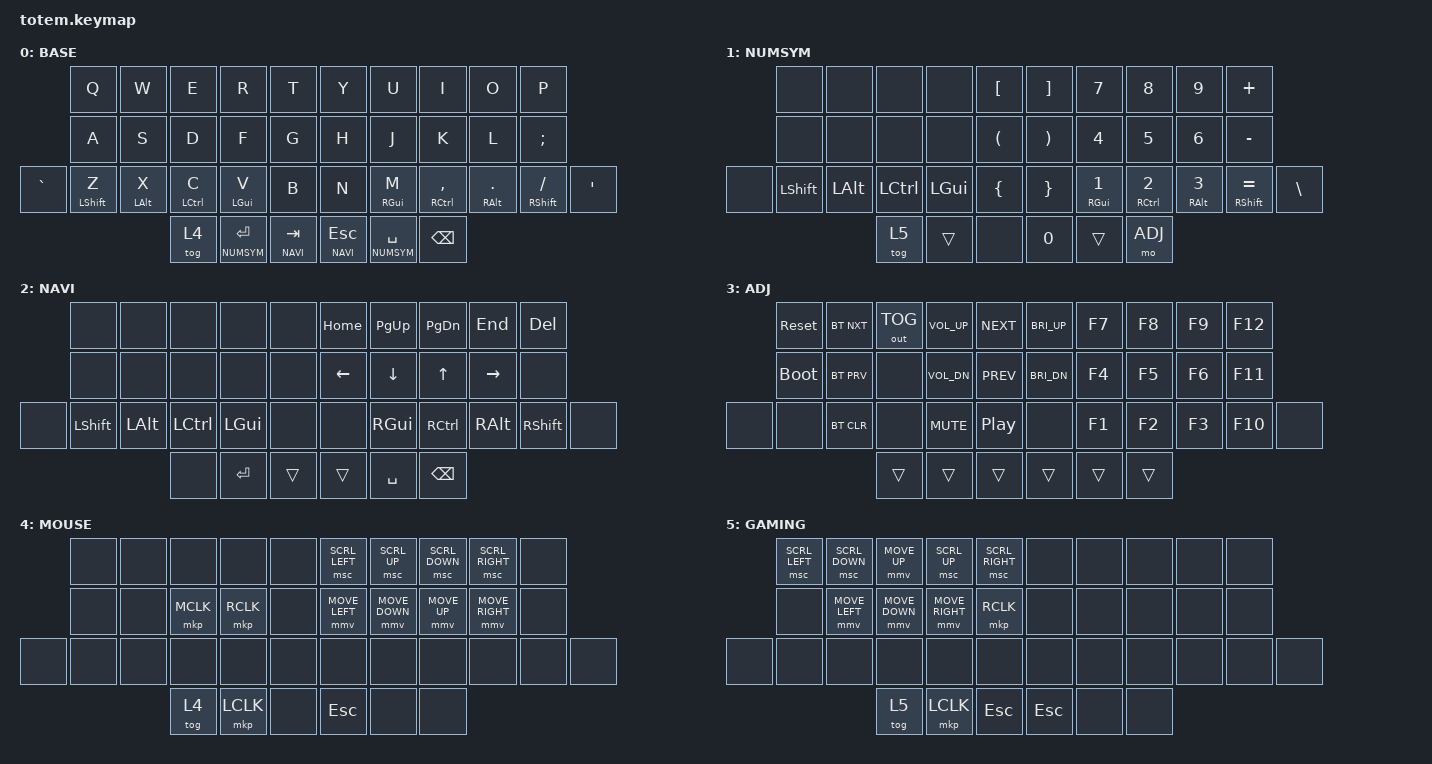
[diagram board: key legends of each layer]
//
//                                                        ▀▀▀▀▀     ▀▀▀▀▀          ▀▀█▀▀
//                                                        ▄▀▀▀▄  ▄  ▄▀▀▀▄  ▄  ▄▀▀▀▄  █  ▄▀▀▀▄
//                                                        █   █  █  █   █  █  █   █  █  █   █
//                                                         ▀▀▀   █   ▀▀▀   █   ▀▀▀   ▀   ▀▀▀
//                                                               █      ▄▄▄█▄▄▄    █   █  
//                                                               ▀      █  █  █     █▄█
//                                                             ▀▀▀▀▀    █  █  █      ▀
//                                                                      ▀  ▀  ▀
//
// ▄▄▄▄▄▄▄▄▄▄▄▄▄▄▄▄▄▄▄▄▄▄▄▄▄▄▄▄▄▄▄▄▄▄▄▄▄▄▄▄▄▄▄▄▄▄▄▄▄▄▄▄▄▄▄▄▄▄▄▄▄▄▄▄▄▄▄▄▄▄▄▄▄▄▄▄▄▄▄▄▄▄▄▄▄▄▄▄▄▄▄▄▄▄▄▄▄▄▄▄▄▄▄▄▄▄▄▄▄▄▄▄▄▄▄▄▄▄▄▄▄▄▄▄▄▄▄▄▄▄▄▄▄▄▄▄▄▄▄▄▄▄▄▄▄▄▄▄▄


#include <behaviors.dtsi>
#include <dt-bindings/zmk/keys.h>
#include <dt-bindings/zmk/bt.h>
#include <dt-bindings/zmk/outputs.h>

// mouse mode
//
// https://v0-3-branch.zmk.dev/docs/keymaps/behaviors/mouse-emulation
#define ZMK_POINTING_DEFAULT_MOVE_VAL 1500  // default: 600
#define ZMK_POINTING_DEFAULT_SCRL_VAL 20    // default: 10

#include <dt-bindings/zmk/pointing.h>
// ----------------------------------------------------------------------

#define BASE    0
#define NUMSYM  1
#define NAVI    2
#define ADJ     3
#define MOUSE   4
#define GAMING  5

&mt {
    tapping-term-ms = <125>;
    quick-tap-ms = <150>;
    flavor = "tap-preferred";
};

/ {
     combos {
            compatible = "zmk,combos";
            combo_caps {
                timeout-ms = <50>;
                key-positions = <10 19>;
                bindings = <&kp CAPS>;
            };
    };

    macros {
        // place your macro here...
    };

        keymap {
                compatible = "zmk,keymap";
// ▄▄▄▄▄▄▄▄▄▄▄▄▄▄▄▄▄▄▄▄▄▄▄▄▄▄▄▄▄▄▄▄▄▄▄▄▄▄▄▄▄▄▄▄▄▄▄▄▄▄▄▄▄▄▄▄▄▄▄▄▄▄▄▄▄▄▄▄▄▄▄▄▄▄▄▄▄▄▄▄▄▄▄▄▄▄▄▄▄▄▄▄▄▄▄▄▄▄▄▄▄▄▄▄▄▄▄▄▄▄▄▄▄▄▄▄▄▄▄▄▄▄▄▄▄▄▄▄▄▄▄▄▄▄▄▄▄▄▄▄▄▄▄▄▄▄▄▄▄

                base_layer {
// ┏━━━━━━━━━━━━━━━━━━━━━━━━━━━━━━━━━━━━━━━┓
label= "BASE"                              ;
// ┗━━━━━━━━━━━━━━━━━━━━━━━━━━━━━━━━━━━━━━━┛
//             ┏━━━━━━━━━━━┳━━━━━━━━━━━┳━━━━━━━━━━━┳━━━━━━━━━━━┳━━━━━━━━━━━┓   ┏━━━━━━━━━━━┳━━━━━━━━━━━┳━━━━━━━━━━━┳━━━━━━━━━━━┳━━━━━━━━━━━┓
//             ┃     Q     ┃     W     ┃     E     ┃     R     ┃     T     ┃   ┃     Y     ┃     U     ┃     I     ┃     O     ┃     P     ┃
//             ┣━━━━━━━━━━━╋━━━━━━━━━━━╋━━━━━━━━━━━╋━━━━━━━━━━━╋━━━━━━━━━━━┫   ┣━━━━━━━━━━━╋━━━━━━━━━━━╋━━━━━━━━━━━╋━━━━━━━━━━━╋━━━━━━━━━━━┫
//             ┃     A     ┃     S     ┃     D     ┃     F     ┃     G     ┃   ┃     H     ┃     J     ┃     K     ┃     L     ┃     ;     ┃
// ┏━━━━━━━━━━━╋━━━━━━━━━━━╋━━━━━━━━━━━╋━━━━━━━━━━━╋━━━━━━━━━━━╋━━━━━━━━━━━┫   ┣━━━━━━━━━━━╋━━━━━━━━━━━╋━━━━━━━━━━━╋━━━━━━━━━━━╋━━━━━━━━━━━╋━━━━━━━━━━━┓
// ┃     `     ┃     Z     ┃     X     ┃     C     ┃     V     ┃     B     ┃   ┃     N     ┃     M     ┃     ,     ┃     .     ┃     /     ┃     '     ┃
// ┗━━━━━━━━━━━┻━━━━━━━━━━━┻━━━━━━━━━━━╋━━━━━━━━━━━╋━━━━━━━━━━━╋━━━━━━━━━━━┫   ┣━━━━━━━━━━━╋━━━━━━━━━━━╋━━━━━━━━━━━╋━━━━━━━━━━━┻━━━━━━━━━━━┻━━━━━━━━━━━┛
//                                     ┃  [MOUSE]  ┃RET[NUMSYM]┃ TAB[NAVI] ┃   ┃ ESC[NAVI] ┃SPC[NUMSYM]┃   BSPC    ┃
//                                     ┗━━━━━━━━━━━┻━━━━━━━━━━━┻━━━━━━━━━━━┛   ┗━━━━━━━━━━━┻━━━━━━━━━━━┻━━━━━━━━━━━┛
 bindings = <
// ╷           ╷           ╷           ╷           ╷           ╷           ╷   ╷           ╷           ╷           ╷           ╷           ╷           ╷

                &kp Q       &kp W       &kp E       &kp R       &kp T           &kp Y       &kp U       &kp I        &kp O       &kp P
                &kp A       &kp S       &kp D       &kp F       &kp G           &kp H       &kp J       &kp K        &kp L       &kp SEMI
    &kp GRAVE   &mt LSHFT Z &mt LALT X  &mt LCTRL C &mt LGUI V  &kp B           &kp N       &mt RGUI M  &mt RCTRL COMMA &mt RALT DOT &mt RSHFT FSLH &kp SQT
                                        &tog 4  &lt NUMSYM RET &lt NAVI TAB    &lt NAVI ESC &lt NUMSYM SPACE &kp BSPC
                        >;
                };

// ▄▄▄▄▄▄▄▄▄▄▄▄▄▄▄▄▄▄▄▄▄▄▄▄▄▄▄▄▄▄▄▄▄▄▄▄▄▄▄▄▄▄▄▄▄▄▄▄▄▄▄▄▄▄▄▄▄▄▄▄▄▄▄▄▄▄▄▄▄▄▄▄▄▄▄▄▄▄▄▄▄▄▄▄▄▄▄▄▄▄▄▄▄▄▄▄▄▄▄▄▄▄▄▄▄▄▄▄▄▄▄▄▄▄▄▄▄▄▄▄▄▄▄▄▄▄▄▄▄▄▄▄▄▄▄▄▄▄▄▄▄▄▄▄▄▄▄▄▄


                numsym_layer {
// ┏━━━━━━━━━━━━━━━━━━━━━━━━━━━━━━━━━━━━━━━┓
label= "NUMSYM"                            ;
// ┗━━━━━━━━━━━━━━━━━━━━━━━━━━━━━━━━━━━━━━━┛
//             ┏━━━━━━━━━━━┳━━━━━━━━━━━┳━━━━━━━━━━━┳━━━━━━━━━━━┳━━━━━━━━━━━┓   ┏━━━━━━━━━━━┳━━━━━━━━━━━┳━━━━━━━━━━━┳━━━━━━━━━━━┳━━━━━━━━━━━┓
//             ┃           ┃           ┃           ┃           ┃     [     ┃   ┃     ]     ┃     7     ┃     8     ┃     9     ┃     +     ┃
//             ┣━━━━━━━━━━━╋━━━━━━━━━━━╋━━━━━━━━━━━╋━━━━━━━━━━━╋━━━━━━━━━━━┫   ┣━━━━━━━━━━━╋━━━━━━━━━━━╋━━━━━━━━━━━╋━━━━━━━━━━━╋━━━━━━━━━━━┫
//             ┃           ┃           ┃           ┃           ┃     (     ┃   ┃     }     ┃     4     ┃     5     ┃     6     ┃     -     ┃
// ┏━━━━━━━━━━━╋━━━━━━━━━━━╋━━━━━━━━━━━╋━━━━━━━━━━━╋━━━━━━━━━━━╋━━━━━━━━━━━┫   ┣━━━━━━━━━━━╋━━━━━━━━━━━╋━━━━━━━━━━━╋━━━━━━━━━━━╋━━━━━━━━━━━╋━━━━━━━━━━━┓
// ┃           ┃   LSHFT   ┃    ALT    ┃   CTRL    ┃    CMD    ┃     {     ┃   ┃     )     ┃  1[RGUI]  ┃ 2[RCTLR]  ┃  3[RALT]  ┃ =[RSHFT]  ┃     \     ┃
// ┗━━━━━━━━━━━┻━━━━━━━━━━━┻━━━━━━━━━━━╋━━━━━━━━━━━╋━━━━━━━━━━━╋━━━━━━━━━━━┫   ┣━━━━━━━━━━━╋━━━━━━━━━━━╋━━━━━━━━━━━╋━━━━━━━━━━━┻━━━━━━━━━━━┻━━━━━━━━━━━┛
//                                     ┃   GAMING  ┃RET[NUMSYM]┃           ┃   ┃     0     ┃SPC[NUMSYM]┃    ADJ    ┃
//                                     ┗━━━━━━━━━━━┻━━━━━━━━━━━┻━━━━━━━━━━━┛   ┗━━━━━━━━━━━┻━━━━━━━━━━━┻━━━━━━━━━━━┛
 bindings = <
// ╷           ╷           ╷           ╷           ╷           ╷           ╷   ╷           ╷           ╷           ╷           ╷           ╷           ╷

                &none       &none       &none       &none       &kp LBKT         &kp RBKT   &kp N7      &kp N8      &kp N9      &kp PLUS
                &none       &none       &none       &none       &kp LPAR         &kp RPAR   &kp N4      &kp N5      &kp N6      &kp MINUS
    &none       &kp LSHFT   &kp LALT    &kp LCTRL   &kp LGUI    &kp LBRC         &kp RBRC   &mt RGUI N1 &mt RCTRL N2 &mt RALT N3 &mt RSHFT EQUAL &kp BSLH
                                        &tog 5      &trans      &none            &kp N0     &trans      &mo ADJ
                        >;
                };

// ▄▄▄▄▄▄▄▄▄▄▄▄▄▄▄▄▄▄▄▄▄▄▄▄▄▄▄▄▄▄▄▄▄▄▄▄▄▄▄▄▄▄▄▄▄▄▄▄▄▄▄▄▄▄▄▄▄▄▄▄▄▄▄▄▄▄▄▄▄▄▄▄▄▄▄▄▄▄▄▄▄▄▄▄▄▄▄▄▄▄▄▄▄▄▄▄▄▄▄▄▄▄▄▄▄▄▄▄▄▄▄▄▄▄▄▄▄▄▄▄▄▄▄▄▄▄▄▄▄▄▄▄▄▄▄▄▄▄▄▄▄▄▄▄▄▄▄▄▄

                nav_layer {
// ┏━━━━━━━━━━━━━━━━━━━━━━━━━━━━━━━━━━━━━━━┓
label= "NAVI"                              ;
// ┗━━━━━━━━━━━━━━━━━━━━━━━━━━━━━━━━━━━━━━━┛
//             ┏━━━━━━━━━━━┳━━━━━━━━━━━┳━━━━━━━━━━━┳━━━━━━━━━━━┳━━━━━━━━━━━┓   ┏━━━━━━━━━━━┳━━━━━━━━━━━┳━━━━━━━━━━━┳━━━━━━━━━━━┳━━━━━━━━━━━┓
//             ┃           ┃           ┃           ┃           ┃           ┃   ┃    HOME   ┃    PGUP   ┃   PGDWN   ┃    END    ┃    DEL    ┃
//             ┣━━━━━━━━━━━╋━━━━━━━━━━━╋━━━━━━━━━━━╋━━━━━━━━━━━╋━━━━━━━━━━━┫   ┣━━━━━━━━━━━╋━━━━━━━━━━━╋━━━━━━━━━━━╋━━━━━━━━━━━╋━━━━━━━━━━━┫
//             ┃           ┃           ┃           ┃           ┃           ┃   ┃      ←    ┃     ↓     ┃     ↑     ┃     →     ┃           ┃
// ┏━━━━━━━━━━━╋━━━━━━━━━━━╋━━━━━━━━━━━╋━━━━━━━━━━━╋━━━━━━━━━━━╋━━━━━━━━━━━┫   ┣━━━━━━━━━━━╋━━━━━━━━━━━╋━━━━━━━━━━━╋━━━━━━━━━━━╋━━━━━━━━━━━╋━━━━━━━━━━━┓
// ┃           ┃   SHFT    ┃    ALT    ┃   CTRL    ┃    CMD    ┃           ┃   ┃           ┃    CMD    ┃    CTRL   ┃     ALT   ┃    SHFT   ┃           ┃
// ┗━━━━━━━━━━━┻━━━━━━━━━━━┻━━━━━━━━━━━╋━━━━━━━━━━━╋━━━━━━━━━━━╋━━━━━━━━━━━┫   ┣━━━━━━━━━━━╋━━━━━━━━━━━╋━━━━━━━━━━━╋━━━━━━━━━━━┻━━━━━━━━━━━┻━━━━━━━━━━━┛
//                                     ┃           ┃    RET    ┃ TAB[NAVI] ┃   ┃ ESC[NAVI] ┃    SPC    ┃    BSPC   ┃
//                                     ┗━━━━━━━━━━━┻━━━━━━━━━━━┻━━━━━━━━━━━┛   ┗━━━━━━━━━━━┻━━━━━━━━━━━┻━━━━━━━━━━━┛
 bindings = <
// ╷           ╷           ╷           ╷           ╷           ╷           ╷   ╷           ╷           ╷           ╷           ╷           ╷           ╷

                &none       &none       &none       &none       &none            &kp HOME    &kp PG_UP   &kp PG_DN   &kp END     &kp DEL
                &none       &none       &none       &none       &none            &kp LEFT    &kp DOWN    &kp UP      &kp RIGHT   &none
    &none       &kp LSHFT   &kp LALT    &kp LCTRL   &kp LGUI    &none            &none       &kp RGUI    &kp RCTRL   &kp RALT    &kp RSHFT   &none
                                        &none       &kp RET     &trans           &trans      &kp SPACE   &kp BSPC
                        >;
                };

// ▄▄▄▄▄▄▄▄▄▄▄▄▄▄▄▄▄▄▄▄▄▄▄▄▄▄▄▄▄▄▄▄▄▄▄▄▄▄▄▄▄▄▄▄▄▄▄▄▄▄▄▄▄▄▄▄▄▄▄▄▄▄▄▄▄▄▄▄▄▄▄▄▄▄▄▄▄▄▄▄▄▄▄▄▄▄▄▄▄▄▄▄▄▄▄▄▄▄▄▄▄▄▄▄▄▄▄▄▄▄▄▄▄▄▄▄▄▄▄▄▄▄▄▄▄▄▄▄▄▄▄▄▄▄▄▄▄▄▄▄▄▄▄▄▄▄▄▄▄

                adjust_layer {
// ┏━━━━━━━━━━━━━━━━━━━━━━━━━━━━━━━━━━━━━━━┓
label= "ADJ"                               ;
// ┗━━━━━━━━━━━━━━━━━━━━━━━━━━━━━━━━━━━━━━━┛
//             ┏━━━━━━━━━━━┳━━━━━━━━━━━┳━━━━━━━━━━━┳━━━━━━━━━━━┳━━━━━━━━━━━┓   ┏━━━━━━━━━━━┳━━━━━━━━━━━┳━━━━━━━━━━━┳━━━━━━━━━━━┳━━━━━━━━━━━┓
//             ┃   RESET   ┃  BT NEXT  ┃  OUT TOG  ┃     🔊    ┃     ⏭️    ┃   ┃     🔆    ┃    F7     ┃    F8     ┃    F9     ┃    F12    ┃
//             ┣━━━━━━━━━━━╋━━━━━━━━━━━╋━━━━━━━━━━━╋━━━━━━━━━━━╋━━━━━━━━━━━┫   ┣━━━━━━━━━━━╋━━━━━━━━━━━╋━━━━━━━━━━━╋━━━━━━━━━━━╋━━━━━━━━━━━┫
//             ┃ BOOTLOAD  ┃  BT PREV  ┃           ┃     🔈    ┃     ⏮️    ┃   ┃     🔅    ┃    F4     ┃    F5     ┃    F6     ┃    F11    ┃
// ┏━━━━━━━━━━━╋━━━━━━━━━━━╋━━━━━━━━━━━╋━━━━━━━━━━━╋━━━━━━━━━━━╋━━━━━━━━━━━┫   ┣━━━━━━━━━━━╋━━━━━━━━━━━╋━━━━━━━━━━━╋━━━━━━━━━━━╋━━━━━━━━━━━╋━━━━━━━━━━━┓
// ┃           ┃           ┃  BT CLEAR ┃           ┃     🔇    ┃     ⏯️    ┃   ┃           ┃    F1     ┃    F2     ┃    F3     ┃    F10    ┃           ┃
// ┗━━━━━━━━━━━┻━━━━━━━━━━━┻━━━━━━━━━━━╋━━━━━━━━━━━╋━━━━━━━━━━━╋━━━━━━━━━━━┫   ┣━━━━━━━━━━━╋━━━━━━━━━━━╋━━━━━━━━━━━╋━━━━━━━━━━━┻━━━━━━━━━━━┻━━━━━━━━━━━┛
//                                     ┃           ┃           ┃           ┃   ┃           ┃           ┃           ┃
//                                     ┗━━━━━━━━━━━┻━━━━━━━━━━━┻━━━━━━━━━━━┛   ┗━━━━━━━━━━━┻━━━━━━━━━━━┻━━━━━━━━━━━┛
 bindings = <
// ╷           ╷           ╷           ╷           ╷           ╷           ╷   ╷           ╷           ╷           ╷           ╷           ╷           ╷

                &sys_reset  &bt BT_NXT &out OUT_TOG &kp C_VOL_UP  &kp C_NEXT    &kp C_BRI_UP &kp F7      &kp F8      &kp F9      &kp F12
                &bootloader &bt BT_PRV  &none       &kp C_VOL_DN  &kp C_PREV    &kp C_BRI_DN &kp F4      &kp F5      &kp F6      &kp F11
    &none       &none       &bt BT_CLR  &none       &kp C_MUTE    &kp C_PP      &none        &kp F1      &kp F2      &kp F3      &kp F10     &none
                                        &trans      &trans      &trans          &trans       &trans      &trans
                        >;
                };

// ▄▄▄▄▄▄▄▄▄▄▄▄▄▄▄▄▄▄▄▄▄▄▄▄▄▄▄▄▄▄▄▄▄▄▄▄▄▄▄▄▄▄▄▄▄▄▄▄▄▄▄▄▄▄▄▄▄▄▄▄▄▄▄▄▄▄▄▄▄▄▄▄▄▄▄▄▄▄▄▄▄▄▄▄▄▄▄▄▄▄▄▄▄▄▄▄▄▄▄▄▄▄▄▄▄▄▄▄▄▄▄▄▄▄▄▄▄▄▄▄▄▄▄▄▄▄▄▄▄▄▄▄▄▄▄▄▄▄▄▄▄▄▄▄▄▄▄▄▄

                mouse_layer {
// ┏━━━━━━━━━━━━━━━━━━━━━━━━━━━━━━━━━━━━━━━┓
label= "MOUSE"                               ;
// ┗━━━━━━━━━━━━━━━━━━━━━━━━━━━━━━━━━━━━━━━┛
//             ┏━━━━━━━━━━━┳━━━━━━━━━━━┳━━━━━━━━━━━┳━━━━━━━━━━━┳━━━━━━━━━━━┓   ┏━━━━━━━━━━━┳━━━━━━━━━━━┳━━━━━━━━━━━┳━━━━━━━━━━━┳━━━━━━━━━━━┓
//             ┃           ┃           ┃           ┃           ┃           ┃   ┃  SCRLLEFT ┃   SCRLUP  ┃  SCRLDOWN ┃ SCRLRIGHT ┃           ┃
//             ┣━━━━━━━━━━━╋━━━━━━━━━━━╋━━━━━━━━━━━╋━━━━━━━━━━━╋━━━━━━━━━━━┫   ┣━━━━━━━━━━━╋━━━━━━━━━━━╋━━━━━━━━━━━╋━━━━━━━━━━━╋━━━━━━━━━━━┫
//             ┃           ┃           ┃   MCLICK  ┃   RCLICK  ┃           ┃   ┃   MLEFT   ┃   MDOWN   ┃    MUP    ┃   MRIGHT  ┃           ┃
// ┏━━━━━━━━━━━╋━━━━━━━━━━━╋━━━━━━━━━━━╋━━━━━━━━━━━╋━━━━━━━━━━━╋━━━━━━━━━━━┫   ┣━━━━━━━━━━━╋━━━━━━━━━━━╋━━━━━━━━━━━╋━━━━━━━━━━━╋━━━━━━━━━━━╋━━━━━━━━━━━┓
// ┃           ┃           ┃           ┃           ┃           ┃           ┃   ┃           ┃           ┃           ┃           ┃           ┃           ┃
// ┗━━━━━━━━━━━┻━━━━━━━━━━━┻━━━━━━━━━━━╋━━━━━━━━━━━╋━━━━━━━━━━━╋━━━━━━━━━━━┫   ┣━━━━━━━━━━━╋━━━━━━━━━━━╋━━━━━━━━━━━╋━━━━━━━━━━━┻━━━━━━━━━━━┻━━━━━━━━━━━┛
//                                     ┃  [MOUSE]  ┃   LCLICK  ┃           ┃   ┃    ESC    ┃           ┃           ┃
//                                     ┗━━━━━━━━━━━┻━━━━━━━━━━━┻━━━━━━━━━━━┛   ┗━━━━━━━━━━━┻━━━━━━━━━━━┻━━━━━━━━━━━┛
 bindings = <
// ╷           ╷           ╷           ╷           ╷           ╷           ╷   ╷           ╷           ╷           ╷           ╷           ╷           ╷

                &none       &none       &none       &none       &none       &msc SCRL_LEFT &msc SCRL_UP &msc SCRL_DOWN &msc SCRL_RIGHT &none
                &none       &none       &mkp MCLK   &mkp RCLK   &none       &mmv MOVE_LEFT &mmv MOVE_DOWN &mmv MOVE_UP &mmv MOVE_RIGHT &none
    &none       &none       &none       &none       &none       &none           &none       &none       &none       &none       &none       &none
                                        &tog 4      &mkp LCLK   &none           &kp ESC     &none       &none
                        >;
                };

gaming_layer {
// ┏━━━━━━━━━━━━━━━━━━━━━━━━━━━━━━━━━━━━━━━┓
label= "GAMING"                            ;
// ┗━━━━━━━━━━━━━━━━━━━━━━━━━━━━━━━━━━━━━━━┛
//             ┏━━━━━━━━━━━┳━━━━━━━━━━━┳━━━━━━━━━━━┳━━━━━━━━━━━┳━━━━━━━━━━━┓   ┏━━━━━━━━━━━┳━━━━━━━━━━━┳━━━━━━━━━━━┳━━━━━━━━━━━┳━━━━━━━━━━━┓
//             ┃  SCRLLEFT ┃ SCRLDOWN  ┃    MUP    ┃   SCRLUP  ┃ SCRLRIGHT ┃   ┃           ┃           ┃           ┃           ┃           ┃
//             ┣━━━━━━━━━━━╋━━━━━━━━━━━╋━━━━━━━━━━━╋━━━━━━━━━━━╋━━━━━━━━━━━┫   ┣━━━━━━━━━━━╋━━━━━━━━━━━╋━━━━━━━━━━━╋━━━━━━━━━━━╋━━━━━━━━━━━┫
//             ┃           ┃   MLEFT   ┃   MDOWN   ┃   MRIGHT  ┃  RCLICK   ┃   ┃           ┃           ┃           ┃           ┃           ┃
// ┏━━━━━━━━━━━╋━━━━━━━━━━━╋━━━━━━━━━━━╋━━━━━━━━━━━╋━━━━━━━━━━━╋━━━━━━━━━━━┫   ┣━━━━━━━━━━━╋━━━━━━━━━━━╋━━━━━━━━━━━╋━━━━━━━━━━━╋━━━━━━━━━━━╋━━━━━━━━━━━┓
// ┃           ┃           ┃           ┃           ┃           ┃           ┃   ┃           ┃           ┃           ┃           ┃           ┃           ┃
// ┗━━━━━━━━━━━┻━━━━━━━━━━━┻━━━━━━━━━━━╋━━━━━━━━━━━╋━━━━━━━━━━━╋━━━━━━━━━━━┫   ┣━━━━━━━━━━━╋━━━━━━━━━━━╋━━━━━━━━━━━╋━━━━━━━━━━━┻━━━━━━━━━━━┻━━━━━━━━━━━┛
//                                     ┃  [GAMING] ┃   LCLICK  ┃    ESC    ┃   ┃    ESC    ┃           ┃           ┃
//                                     ┗━━━━━━━━━━━┻━━━━━━━━━━━┻━━━━━━━━━━━┛   ┗━━━━━━━━━━━┻━━━━━━━━━━━┻━━━━━━━━━━━┛
 bindings = <
// ╷           ╷           ╷           ╷           ╷           ╷           ╷   ╷           ╷           ╷           ╷           ╷           ╷           ╷

          &msc SCRL_LEFT &msc SCRL_DOWN &mmv MOVE_UP &msc SCRL_UP &msc SCRL_RIGHT &none     &none       &none       &none       &none
                &none    &mmv MOVE_LEFT &mmv MOVE_DOWN &mmv MOVE_RIGHT &mkp RCLK  &none     &none       &none       &none       &none
    &none       &none       &none       &none       &none       &none           &none       &none       &none       &none       &none       &none
                                        &tog 5      &mkp LCLK   &kp ESC         &kp ESC     &none       &none
                        >;
                };

        };
};
